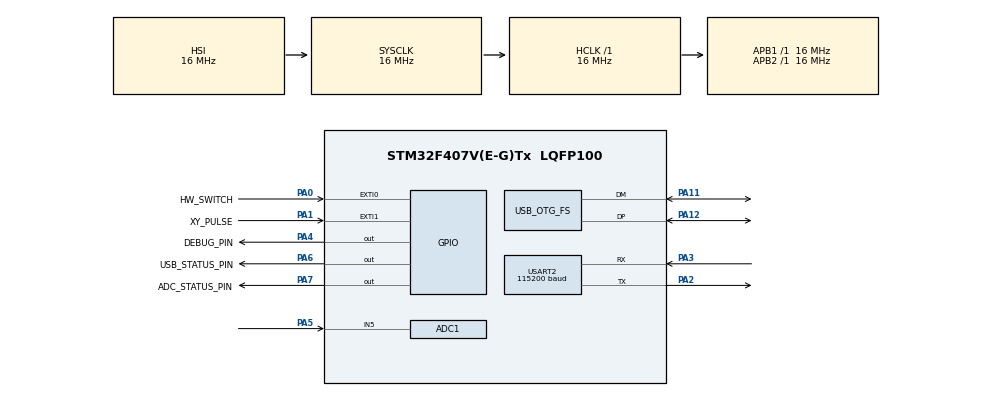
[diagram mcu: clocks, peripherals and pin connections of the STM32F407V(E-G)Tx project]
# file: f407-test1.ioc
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ADC1.Channel-3\#ChannelRegularConversion=ADC_CHANNEL_5
ADC1.ClockPrescaler=ADC_CLOCK_SYNC_PCLK_DIV4
ADC1.ContinuousConvMode=ENABLE
ADC1.DMAContinuousRequests=DISABLE
ADC1.EOCSelection=ADC_EOC_SEQ_CONV
ADC1.NbrOfConversion=1
ADC1.NbrOfConversionFlag=1
ADC1.Rank-3\#ChannelRegularConversion=1
ADC1.Resolution=ADC_RESOLUTION_10B
ADC1.SamplingTime-3\#ChannelRegularConversion=ADC_SAMPLETIME_56CYCLES
ADC1.ScanConvMode=DISABLE
ADC1.master=1
Dma.ADC1.0.Direction=DMA_PERIPH_TO_MEMORY
Dma.ADC1.0.FIFOMode=DMA_FIFOMODE_ENABLE
Dma.ADC1.0.FIFOThreshold=DMA_FIFO_THRESHOLD_FULL
Dma.ADC1.0.Instance=DMA2_Stream0
Dma.ADC1.0.MemBurst=DMA_MBURST_SINGLE
Dma.ADC1.0.MemDataAlignment=DMA_MDATAALIGN_HALFWORD
Dma.ADC1.0.MemInc=DMA_MINC_ENABLE
Dma.ADC1.0.Mode=DMA_NORMAL
Dma.ADC1.0.PeriphBurst=DMA_PBURST_SINGLE
Dma.ADC1.0.PeriphDataAlignment=DMA_PDATAALIGN_HALFWORD
Dma.ADC1.0.PeriphInc=DMA_PINC_DISABLE
Dma.ADC1.0.Priority=DMA_PRIORITY_MEDIUM
Dma.Request0=ADC1
Mcu.Family=STM32F4
Mcu.Name=STM32F407V(E-G)Tx
Mcu.Package=LQFP100
NVIC.ADC_IRQn=true\:0\:0\:false\:false\:true\:true\:true
NVIC.DMA2_Stream0_IRQn=true\:0\:0\:false\:false\:true\:false\:true
NVIC.EXTI0_IRQn=true\:0\:0\:false\:false\:true\:true\:true
NVIC.EXTI1_IRQn=true\:0\:0\:false\:false\:true\:true\:true
NVIC.OTG_FS_IRQn=true\:0\:0\:false\:false\:true\:true\:true
NVIC.PriorityGroup=NVIC_PRIORITYGROUP_4
NVIC.TIM7_IRQn=true\:0\:0\:false\:false\:true\:true\:true
PA0-WKUP.GPIO_Label=HW_SWITCH
PA0-WKUP.Signal=GPXTI0
PA1.GPIO_Label=XY_PULSE
PA1.GPIO_ModeDefaultEXTI=GPIO_MODE_IT_RISING_FALLING
PA1.Signal=GPXTI1
PA11.Mode=Device_Only
PA11.Signal=USB_OTG_FS_DM
PA12.Mode=Device_Only
PA12.Signal=USB_OTG_FS_DP
PA2.Mode=Asynchronous
PA2.Signal=USART2_TX
PA3.Mode=Asynchronous
PA3.Signal=USART2_RX
PA4.GPIO_Label=DEBUG_PIN
PA4.Signal=GPIO_Output
PA5.Signal=ADCx_IN5
PA6.GPIO_Label=USB_STATUS_PIN
PA6.Signal=GPIO_Output
PA7.GPIO_Label=ADC_STATUS_PIN
PA7.Signal=GPIO_Output
PH0-OSC_IN.Mode=HSE-External-Oscillator
PH0-OSC_IN.Signal=RCC_OSC_IN
PH1-OSC_OUT.Mode=HSE-External-Oscillator
PH1-OSC_OUT.Signal=RCC_OSC_OUT
ProjectManager.HeapSize=0x600
ProjectManager.StackSize=0x400
ProjectManager.TargetToolchain=SW4STM32
RCC.48MHZClocksFreq_Value=48000000
RCC.AHBFreq_Value=16000000
RCC.APB1Freq_Value=16000000
RCC.APB1TimFreq_Value=16000000
RCC.APB2Freq_Value=16000000
RCC.APB2TimFreq_Value=16000000
RCC.CortexFreq_Value=16000000
RCC.HCLKFreq_Value=16000000
RCC.HSE_VALUE=8000000
RCC.HSI_VALUE=16000000
RCC.LSE_VALUE=32768
RCC.PLLM=4
RCC.PLLN=72
RCC.PLLQ=3
RCC.SYSCLKFreq_VALUE=16000000
RCC.VCOOutputFreq_Value=144000000
SH.ADCx_IN5.0=ADC1_IN5,IN5
TIM7.AutoReloadPreload=TIM_AUTORELOAD_PRELOAD_DISABLE
TIM7.Period=62499
TIM7.Prescaler=83
TIM7.TIM_MasterOutputTrigger=TIM_TRGO_UPDATE
USART2.BaudRate=115200
USART2.VirtualMode=VM_ASYNC
USB_DEVICE.APP_RX_DATA_SIZE-CDC_FS=2048
USB_DEVICE.CLASS_NAME_FS=CDC
USB_DEVICE.VirtualMode-CDC_FS=Cdc
USB_DEVICE.VirtualModeFS=Cdc_FS
USB_OTG_FS.VirtualMode=Device_Only
VP_TIM7_VS_ClockSourceINT.Mode=Enable_Timer
VP_USB_DEVICE_VS_USB_DEVICE_CDC_FS.Mode=CDC_FS
board=custom

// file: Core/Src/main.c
/* USER CODE BEGIN Header */
/**
  ******************************************************************************
  * @file           : main.c
  * @brief          : Main program body
  ******************************************************************************
  * @attention
  *
  * <h2><center>&copy; Copyright (c) 2021 STMicroelectronics.
  * All rights reserved.</center></h2>
  *
  * This software component is licensed by ST under BSD 3-Clause license,
  * the "License"; You may not use this file except in compliance with the
  * License. You may obtain a copy of the License at:
  *                        opensource.org/licenses/BSD-3-Clause
  *
  ******************************************************************************
  */
/* USER CODE END Header */
#include "main.h"
#include "usb_device.h"

/* USER CODE BEGIN Includes */
#include <stdio.h>
#include <stdlib.h>
#include <usbd_cdc_if.h>

/* USER CODE END Includes */

/* USER CODE BEGIN PTD */
extern USBD_HandleTypeDef hUsbDeviceFS;
#define BUF_SIZE 1024
#define STATUS_BUF_SIZE 3

// Flow control
uint8_t switch_pressed = 0;
uint8_t tim7_overflow = 0;
uint8_t pulse_fired = 0;
uint8_t adc_int = 0;
uint8_t usb_transfer_complete = 1;

// Data buffers
uint16_t* buffer0;
uint16_t* buffer1;
volatile uint16_t* cur_buf = NULL;
volatile uint8_t buf_ready = 0;
uint16_t* status_code_buffer;

/* USER CODE END PTD */

/* USER CODE BEGIN PD */
#define USB_STATUS_HIGH HAL_GPIO_WritePin(USB_STATUS_PIN_GPIO_Port, USB_STATUS_PIN_Pin, GPIO_PIN_SET);
#define USB_STATUS_LOW  HAL_GPIO_WritePin(USB_STATUS_PIN_GPIO_Port, USB_STATUS_PIN_Pin, GPIO_PIN_RESET);

#define DEBUG_HIGH HAL_GPIO_WritePin(DEBUG_PIN_GPIO_Port, DEBUG_PIN_Pin, GPIO_PIN_SET);
#define DEBUG_LOW  HAL_GPIO_WritePin(DEBUG_PIN_GPIO_Port, DEBUG_PIN_Pin, GPIO_PIN_RESET);

#define ADC_STATUS_HIGH HAL_GPIO_WritePin(ADC_STATUS_PIN_GPIO_Port, ADC_STATUS_PIN_Pin, GPIO_PIN_SET);
#define ADC_STATUS_LOW  HAL_GPIO_WritePin(ADC_STATUS_PIN_GPIO_Port, ADC_STATUS_PIN_Pin, GPIO_PIN_RESET);
/* USER CODE END PD */

ADC_HandleTypeDef hadc1;
DMA_HandleTypeDef hdma_adc1;

TIM_HandleTypeDef htim7;

UART_HandleTypeDef huart2;

void SystemClock_Config(void);
static void MX_GPIO_Init(void);
static void MX_USART2_UART_Init(void);
static void MX_TIM7_Init(void);
static void MX_DMA_Init(void);
static void MX_ADC1_Init(void);
/* USER CODE BEGIN PFP */
void SystemClock_SwitchToPLL(void);

/* USER CODE END PFP */

int main(void)
{
  /* USER CODE BEGIN 1 */
  uint8_t status;
  buffer0 = (uint16_t *)malloc(sizeof(uint16_t) * BUF_SIZE);
  buffer1 = (uint16_t *)malloc(sizeof(uint16_t) * BUF_SIZE);
  cur_buf = buffer0;

  status_code_buffer = (uint16_t *)malloc(sizeof(uint16_t) * STATUS_BUF_SIZE);
  /* USER CODE END 1 */

  /* MCU Configuration--------------------------------------------------------*/

  /* Reset of all peripherals, Initializes the Flash interface and the Systick. */
  HAL_Init();

  /* USER CODE BEGIN Init */
  for (uint16_t i=0; i<BUF_SIZE; ++i) {
    buffer0[i] = 0x55FF;
    buffer1[i] = 0x22FF;
  }

  /* USER CODE END Init */

  /* Configure the system clock */
  SystemClock_Config();

  /* USER CODE BEGIN SysInit */
  SystemClock_SwitchToPLL();

  /* USER CODE END SysInit */

  /* Initialize all configured peripherals */
  MX_GPIO_Init();
  MX_USART2_UART_Init();
  MX_TIM7_Init();
  MX_DMA_Init();
  MX_ADC1_Init();
  MX_USB_DEVICE_Init();
  /* USER CODE BEGIN 2 */
  HAL_ADC_Start_DMA(&hadc1, (uint32_t*)cur_buf, BUF_SIZE);

  /* USER CODE END 2 */

  /* Infinite loop */
  while (1) {

    /* USER CODE BEGIN 3 */
    if (pulse_fired == 1) {
        // Measures the duration of X and/or Y pulses and starts/stops data collection
        pulse_fired = 0;
        if (htim7.Instance->CR1 & TIM_CR1_CEN) {
            // Stop counting and start saving data
            HAL_TIM_Base_Stop_IT(&htim7);

            // how to calculate duration in seconds:
            // pulse_time = ((double)tim7_overflow / 16) + ((double)__HAL_TIM_GET_COUNTER(&htim7) / 1000000);
            status_code_buffer[0] = 0xFEFE;
            status_code_buffer[1] = tim7_overflow;
            status_code_buffer[2] = __HAL_TIM_GET_COUNTER(&htim7);

            CDC_Transmit_FS((uint8_t*)status_code_buffer, STATUS_BUF_SIZE*2);
            HAL_ADC_Start_DMA(&hadc1, cur_buf, BUF_SIZE);
        } else {
            // X or Y pulse happening

            // It's possible on startup/reset/external reset to think we're ready to measure a low pulse,
            // but the signal is high. Prevent that by checking pin state
            if (HAL_GPIO_ReadPin(XY_PULSE_GPIO_Port, XY_PULSE_Pin) == GPIO_PIN_RESET) {
                // Stop data collection and begin measuring a low pulse
                HAL_ADC_Stop_DMA(&hadc1);

                __HAL_TIM_SET_COUNTER(&htim7, 0);
                tim7_overflow = 0;
                HAL_TIM_Base_Start_IT(&htim7);
            }
        }
    }

    if (buf_ready) {
        // The buffer just swapped and the old one is ready to send
        usb_transfer_complete = 0;

        USB_STATUS_HIGH // set low by transfer complete callback
        if (cur_buf == buffer0) {
            status = CDC_Transmit_FS((uint8_t*)buffer1, BUF_SIZE*2);
        } else {
            status = CDC_Transmit_FS((uint8_t*)buffer0, BUF_SIZE*2);
        }
        if (status != USBD_OK) {
            usb_transfer_complete = 1;
            DEBUG_HIGH  // signal we lost a buffer
            DEBUG_LOW
        } else {
        }
        buf_ready = 0;
    }
  }
  /* USER CODE END 3 */
}

void SystemClock_Config(void)
{
  RCC_OscInitTypeDef RCC_OscInitStruct = {0};
  RCC_ClkInitTypeDef RCC_ClkInitStruct = {0};

  /** Configure the main internal regulator output voltage
  */
  __HAL_RCC_PWR_CLK_ENABLE();
  __HAL_PWR_VOLTAGESCALING_CONFIG(PWR_REGULATOR_VOLTAGE_SCALE1);
  /** Initializes the RCC Oscillators according to the specified parameters
  * in the RCC_OscInitTypeDef structure.
  */
  RCC_OscInitStruct.OscillatorType = RCC_OSCILLATORTYPE_HSI|RCC_OSCILLATORTYPE_HSE;
  RCC_OscInitStruct.HSEState = RCC_HSE_ON;
  RCC_OscInitStruct.HSIState = RCC_HSI_ON;
  RCC_OscInitStruct.HSICalibrationValue = RCC_HSICALIBRATION_DEFAULT;
  RCC_OscInitStruct.PLL.PLLState = RCC_PLL_ON;
  RCC_OscInitStruct.PLL.PLLSource = RCC_PLLSOURCE_HSE;
  RCC_OscInitStruct.PLL.PLLM = 4;
  RCC_OscInitStruct.PLL.PLLN = 72;
  RCC_OscInitStruct.PLL.PLLP = RCC_PLLP_DIV2;
  RCC_OscInitStruct.PLL.PLLQ = 3;
  if (HAL_RCC_OscConfig(&RCC_OscInitStruct) != HAL_OK)
  {
    Error_Handler();
  }
  /** Initializes the CPU, AHB and APB buses clocks
  */
  RCC_ClkInitStruct.ClockType = RCC_CLOCKTYPE_HCLK|RCC_CLOCKTYPE_SYSCLK
                              |RCC_CLOCKTYPE_PCLK1|RCC_CLOCKTYPE_PCLK2;
  RCC_ClkInitStruct.SYSCLKSource = RCC_SYSCLKSOURCE_HSI;
  RCC_ClkInitStruct.AHBCLKDivider = RCC_SYSCLK_DIV1;
  RCC_ClkInitStruct.APB1CLKDivider = RCC_HCLK_DIV1;
  RCC_ClkInitStruct.APB2CLKDivider = RCC_HCLK_DIV1;

  if (HAL_RCC_ClockConfig(&RCC_ClkInitStruct, FLASH_LATENCY_0) != HAL_OK)
  {
    Error_Handler();
  }
}

static void MX_ADC1_Init(void)
{

  ADC_ChannelConfTypeDef sConfig = {0};

  /** Configure the global features of the ADC (Clock, Resolution, Data Alignment and number of conversion)
  */
  hadc1.Instance = ADC1;
  hadc1.Init.ClockPrescaler = ADC_CLOCK_SYNC_PCLK_DIV4;
  hadc1.Init.Resolution = ADC_RESOLUTION_10B;
  hadc1.Init.ScanConvMode = DISABLE;
  hadc1.Init.ContinuousConvMode = ENABLE;
  hadc1.Init.DiscontinuousConvMode = DISABLE;
  hadc1.Init.ExternalTrigConvEdge = ADC_EXTERNALTRIGCONVEDGE_NONE;
  hadc1.Init.ExternalTrigConv = ADC_SOFTWARE_START;
  hadc1.Init.DataAlign = ADC_DATAALIGN_RIGHT;
  hadc1.Init.NbrOfConversion = 1;
  hadc1.Init.DMAContinuousRequests = DISABLE;
  hadc1.Init.EOCSelection = ADC_EOC_SEQ_CONV;
  if (HAL_ADC_Init(&hadc1) != HAL_OK)
  {
    Error_Handler();
  }
  /** Configure for the selected ADC regular channel its corresponding rank in the sequencer and its sample time.
  */
  sConfig.Channel = ADC_CHANNEL_5;
  sConfig.Rank = 1;
  sConfig.SamplingTime = ADC_SAMPLETIME_56CYCLES;
  if (HAL_ADC_ConfigChannel(&hadc1, &sConfig) != HAL_OK)
  {
    Error_Handler();
  }

}

static void MX_TIM7_Init(void)
{

  TIM_MasterConfigTypeDef sMasterConfig = {0};

  htim7.Instance = TIM7;
  htim7.Init.Prescaler = 83;
  htim7.Init.CounterMode = TIM_COUNTERMODE_UP;
  htim7.Init.Period = 62499;
  htim7.Init.AutoReloadPreload = TIM_AUTORELOAD_PRELOAD_DISABLE;
  if (HAL_TIM_Base_Init(&htim7) != HAL_OK)
  {
    Error_Handler();
  }
  sMasterConfig.MasterOutputTrigger = TIM_TRGO_UPDATE;
  sMasterConfig.MasterSlaveMode = TIM_MASTERSLAVEMODE_DISABLE;
  if (HAL_TIMEx_MasterConfigSynchronization(&htim7, &sMasterConfig) != HAL_OK)
  {
    Error_Handler();
  }

}

static void MX_USART2_UART_Init(void)
{

  huart2.Instance = USART2;
  huart2.Init.BaudRate = 115200;
  huart2.Init.WordLength = UART_WORDLENGTH_8B;
  huart2.Init.StopBits = UART_STOPBITS_1;
  huart2.Init.Parity = UART_PARITY_NONE;
  huart2.Init.Mode = UART_MODE_TX_RX;
  huart2.Init.HwFlowCtl = UART_HWCONTROL_NONE;
  huart2.Init.OverSampling = UART_OVERSAMPLING_16;
  if (HAL_UART_Init(&huart2) != HAL_OK)
  {
    Error_Handler();
  }

}

static void MX_DMA_Init(void)
{

  /* DMA controller clock enable */
  __HAL_RCC_DMA2_CLK_ENABLE();

  /* DMA interrupt init */
  /* DMA2_Stream0_IRQn interrupt configuration */
  HAL_NVIC_SetPriority(DMA2_Stream0_IRQn, 0, 0);
  HAL_NVIC_EnableIRQ(DMA2_Stream0_IRQn);

}

static void MX_GPIO_Init(void)
{
  GPIO_InitTypeDef GPIO_InitStruct = {0};

  /* GPIO Ports Clock Enable */
  __HAL_RCC_GPIOH_CLK_ENABLE();
  __HAL_RCC_GPIOA_CLK_ENABLE();

  /*Configure GPIO pin Output Level */
  HAL_GPIO_WritePin(GPIOA, DEBUG_PIN_Pin|USB_STATUS_PIN_Pin|ADC_STATUS_PIN_Pin, GPIO_PIN_RESET);

  /*Configure GPIO pin : HW_SWITCH_Pin */
  GPIO_InitStruct.Pin = HW_SWITCH_Pin;
  GPIO_InitStruct.Mode = GPIO_MODE_IT_RISING;
  GPIO_InitStruct.Pull = GPIO_NOPULL;
  HAL_GPIO_Init(HW_SWITCH_GPIO_Port, &GPIO_InitStruct);

  /*Configure GPIO pin : XY_PULSE_Pin */
  GPIO_InitStruct.Pin = XY_PULSE_Pin;
  GPIO_InitStruct.Mode = GPIO_MODE_IT_RISING_FALLING;
  GPIO_InitStruct.Pull = GPIO_NOPULL;
  HAL_GPIO_Init(XY_PULSE_GPIO_Port, &GPIO_InitStruct);

  /*Configure GPIO pins : DEBUG_PIN_Pin USB_STATUS_PIN_Pin ADC_STATUS_PIN_Pin */
  GPIO_InitStruct.Pin = DEBUG_PIN_Pin|USB_STATUS_PIN_Pin|ADC_STATUS_PIN_Pin;
  GPIO_InitStruct.Mode = GPIO_MODE_OUTPUT_PP;
  GPIO_InitStruct.Pull = GPIO_NOPULL;
  GPIO_InitStruct.Speed = GPIO_SPEED_FREQ_LOW;
  HAL_GPIO_Init(GPIOA, &GPIO_InitStruct);

  /* EXTI interrupt init*/
  HAL_NVIC_SetPriority(EXTI0_IRQn, 0, 0);
  HAL_NVIC_EnableIRQ(EXTI0_IRQn);

  HAL_NVIC_SetPriority(EXTI1_IRQn, 0, 0);
  HAL_NVIC_EnableIRQ(EXTI1_IRQn);

}

/* USER CODE BEGIN 4 */

void SystemClock_SwitchToPLL() {
    RCC_OscInitTypeDef RCC_OscInitStruct = {0};
    RCC_ClkInitTypeDef RCC_ClkInitStruct = {0};

    RCC_OscInitStruct.OscillatorType = RCC_OSCILLATORTYPE_HSE;
    RCC_OscInitStruct.HSEState = RCC_HSE_ON;
    RCC_OscInitStruct.PLL.PLLState = RCC_PLL_ON;
    RCC_OscInitStruct.PLL.PLLSource = RCC_PLLSOURCE_HSE;
    RCC_OscInitStruct.PLL.PLLM = 8;
    RCC_OscInitStruct.PLL.PLLN = 336;
    RCC_OscInitStruct.PLL.PLLP = RCC_PLLP_DIV2;
    RCC_OscInitStruct.PLL.PLLQ = 7;
    if (HAL_RCC_OscConfig(&RCC_OscInitStruct) != HAL_OK) {
        Error_Handler();
    }

    RCC_ClkInitStruct.ClockType = RCC_CLOCKTYPE_HCLK|RCC_CLOCKTYPE_SYSCLK
                                  |RCC_CLOCKTYPE_PCLK1|RCC_CLOCKTYPE_PCLK2;
    RCC_ClkInitStruct.SYSCLKSource = RCC_SYSCLKSOURCE_PLLCLK;
    RCC_ClkInitStruct.AHBCLKDivider = RCC_SYSCLK_DIV1;
    RCC_ClkInitStruct.APB1CLKDivider = RCC_HCLK_DIV4;
    RCC_ClkInitStruct.APB2CLKDivider = RCC_HCLK_DIV2;

    if (HAL_RCC_ClockConfig(&RCC_ClkInitStruct, FLASH_LATENCY_5) != HAL_OK) {
        Error_Handler();
    }

    HAL_SYSTICK_Config(HAL_RCC_GetHCLKFreq()/1000);
    HAL_SYSTICK_CLKSourceConfig(SYSTICK_CLKSOURCE_HCLK);
    HAL_NVIC_SetPriority(SysTick_IRQn, 0, 0);
}

void HAL_ADC_ConvCpltCallback(ADC_HandleTypeDef* hadc) {
    if (!usb_transfer_complete || buf_ready) {
        // buf still being ready means it wasn't transmitted
        DEBUG_HIGH // signal failure to transfer
        DEBUG_LOW
    }
    if (cur_buf == buffer0) {
        ADC_STATUS_HIGH // signal buffer swap
        cur_buf = buffer1;
    } else {
        ADC_STATUS_LOW
        cur_buf = buffer0;
    }
    buf_ready = 1;

    HAL_ADC_Start_DMA(&hadc1, cur_buf, BUF_SIZE);
}

void HAL_ADC_ErrorCallback(ADC_HandleTypeDef *hadc) {
    // possible overrun
    DEBUG_HIGH // signal error condition
    HAL_Delay(1000);
    DEBUG_LOW
}

/* USER CODE END 4 */

void Error_Handler(void)
{
  __disable_irq();
  while (1) {
  }
}

/************************ (C) COPYRIGHT STMicroelectronics *****END OF FILE****/
